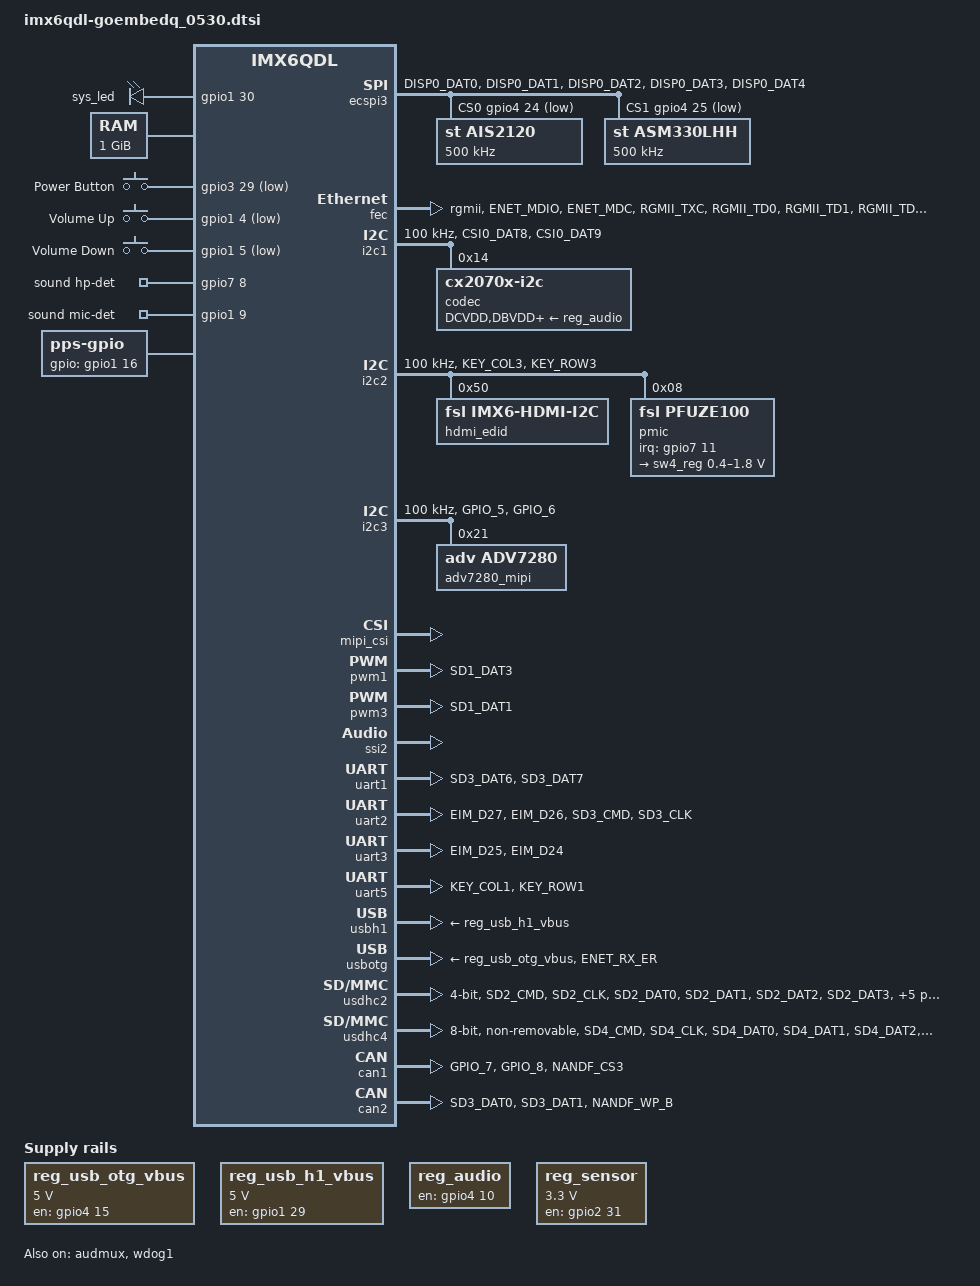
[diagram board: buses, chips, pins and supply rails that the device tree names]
/*
 * Copyright 2012-2016 Freescale Semiconductor, Inc.
 * Copyright 2011 Linaro Ltd.
 *
 * The code contained herein is licensed under the GNU General Public
 * License. You may obtain a copy of the GNU General Public License
 * Version 2 or later at the following locations:
 *
 * http://www.opensource.org/licenses/gpl-license.html
 * http://www.gnu.org/copyleft/gpl.html
 */

#include <dt-bindings/gpio/gpio.h>
#include <dt-bindings/input/input.h>

/ {
/*
	aliases {
		mxcfb0 = &mxcfb1;
		mxcfb1 = &mxcfb2;
		mxcfb2 = &mxcfb3;
		mxcfb3 = &mxcfb4;
	};
*/

	hannstar_cabc {
		compatible = "hannstar,cabc";
		lvds0 {
			gpios = <&gpio6 9 GPIO_ACTIVE_HIGH>;
		};
		lvds1 {
			gpios = <&gpio6 16 GPIO_ACTIVE_HIGH>;
		};
	};

	leds {
		compatible = "gpio-leds";

		sys_led {
			label = "sys_led";
			gpios = <&gpio1 30 GPIO_ACTIVE_HIGH>; 
			linux,default-trigger = "heartbeat";
		};
	};

	memory: memory {
		reg = <0x10000000 0x40000000>;
	};

	regulators {
		compatible = "simple-bus";
		#address-cells = <1>;
		#size-cells = <0>;

		reg_usb_otg_vbus: regulator@0 {
			compatible = "regulator-fixed";
			reg = <0>;
			regulator-name = "usb_otg_vbus";
			regulator-min-microvolt = <5000000>;
			regulator-max-microvolt = <5000000>;
			gpio = <&gpio4 15 GPIO_ACTIVE_LOW>;
			enable-active-high;
			//vin-supply = <&swbst_reg>;
		};

		reg_usb_h1_vbus: regulator@1 {
			compatible = "regulator-fixed";
			reg = <1>;
			regulator-name = "usb_h1_vbus";
			regulator-min-microvolt = <5000000>;
			regulator-max-microvolt = <5000000>;
			gpio = <&gpio1 29 GPIO_ACTIVE_LOW>;
			enable-active-high;
			//vin-supply = <&swbst_reg>;
		};

		reg_audio: regulator@2 {
			compatible = "regulator-fixed";
			reg = <2>;
			regulator-name = "wm8962-supply";
			gpio = <&gpio4 10 GPIO_ACTIVE_LOW>;
			enable-active-high;
		};

		reg_sensor: regulator@3 {
			compatible = "regulator-fixed";
			reg = <3>;
			regulator-name = "sensor-supply";
			regulator-min-microvolt = <3300000>;
			regulator-max-microvolt = <3300000>;
			gpio = <&gpio2 31 GPIO_ACTIVE_LOW>;
			startup-delay-us = <500>;
			enable-active-high;
		};
	};

	gpio-keys {
		compatible = "gpio-keys";
		pinctrl-names = "default";
		pinctrl-0 = <&pinctrl_gpio_keys>;

		power {
			label = "Power Button";
			gpios = <&gpio3 29 GPIO_ACTIVE_LOW>;
			wakeup-source;
			linux,code = <KEY_POWER>;
		};

		volume-up {
			label = "Volume Up";
			gpios = <&gpio1 4 GPIO_ACTIVE_LOW>;
			wakeup-source;
			linux,code = <KEY_VOLUMEUP>;
		};

		volume-down {
			label = "Volume Down";
			gpios = <&gpio1 5 GPIO_ACTIVE_LOW>;
			wakeup-source;
			linux,code = <KEY_VOLUMEDOWN>;
		};
	};

	sound {
		compatible = "fsl,imx6q-cx2070x",
			   "fsl,imx-audio-cx2070x";
		model = "cx2070x-audio";
		cpu-dai = <&ssi2>;
		audio-codec = <&codec>;
		asrc-controller = <&asrc>;
		audio-routing =
			"Master", "SPK",
			"Mic Pga", "74",
			"CPU-Capture", "Capture";
		mux-int-port = <2>;
		mux-ext-port = <3>;
		hp-det-gpios = <&gpio7 8 GPIO_ACTIVE_HIGH>;
		mic-det-gpios = <&gpio1 9 GPIO_ACTIVE_HIGH>;
	};

/*
	mxcfb1: fb@0 {
		compatible = "fsl,mxc_sdc_fb";
                disp_dev = "lcd";
                interface_pix_fmt = "RGB24";
                mode_str ="7inch_LCDP";
                default_bpp = <24>;
                int_clk = <0>;
                late_init = <0>;
                status = "disabled";

        };

	mxcfb2: fb@1 {
		 compatible = "fsl,mxc_sdc_fb";
                disp_dev = "hdmi";
                interface_pix_fmt = "RGB24";
                mode_str ="1280x720M@60";
                default_bpp = <24>;
                int_clk = <0>;
                late_init = <0>;
                status = "disabled";

        };

	mxcfb3: fb@2 {
		compatible = "fsl,mxc_sdc_fb";
                disp_dev = "ldb";
                interface_pix_fmt = "RGB666";
                default_bpp = <16>;
                int_clk = <0>;
                late_init = <0>;
                status = "disabled";
	};

	mxcfb4: fb@3 {
		compatible = "fsl,mxc_sdc_fb";
		disp_dev = "ldb";
		interface_pix_fmt = "RGB666";
		default_bpp = <16>;
		int_clk = <0>;
		late_init = <0>;
		status = "disabled";
	};
*/
/*
	lcd@0 {
		compatible = "fsl,lcd";
		ipu_id = <0>;
		disp_id = <0>;
		default_ifmt = "RGB565";
		pinctrl-names = "default";
		pinctrl-0 = <&pinctrl_ipu1>;
		status = "okay";
	};

	backlight {
		compatible = "pwm-backlight";
		pwms = <&pwm3 0 5000000>;
		brightness-levels = <0 4 8 16 32 64 128 255>;
		default-brightness-level = <1>;
		status = "okay";
	};
*/
	v4l2_cap_0 {
		compatible = "fsl,imx6q-v4l2-capture";
		ipu_id = <0>;
		csi_id = <0>;
		mclk_source = <0>;
		status = "okay";
	};
		
/*
	v4l2_out {
		compatible = "fsl,mxc_v4l2_output";
		status = "okay";
	};
*/	
	pps {
		compatible = "pps-gpio";
		pinctrl-names = "default";
		pinctrl-0 = <&pinctrl_pps>;
		gpios = <&gpio1 16 GPIO_ACTIVE_HIGH>;
		//assert-falling-edge;
		status = "okay";
	};
};

&audmux {
	pinctrl-names = "default";
	pinctrl-0 = <&pinctrl_audmux>;
	status = "okay";
};

/* nayhun original coce*/
&clks {
	assigned-clocks = <&clks IMX6QDL_CLK_LDB_DI0_SEL>,
	<&clks IMX6QDL_PLL4_BYPASS_SRC>,
	<&clks IMX6QDL_PLL4_BYPASS>,
			  <&clks IMX6QDL_CLK_LDB_DI1_SEL>;
	assigned-clock-parents = <&clks IMX6QDL_CLK_PLL2_PFD0_352M>,
				 <&clks IMX6QDL_PLL4_BYPASS>,
				 <&clks IMX6QDL_CLK_PLL2_PFD0_352M>;			 
};

&cpu0 {
	arm-supply = <&reg_arm>;
	soc-supply = <&reg_soc>;
};

/*
&ecspi1 {
	fsl,spi-num-chipselects = <1>;
	cs-gpios = <&gpio4 9 0>;
	pinctrl-names = "default";
	pinctrl-0 = <&pinctrl_ecspi1>;
	status = "okay";

	flash: m25p80@0 {
		#address-cells = <1>;
		#size-cells = <1>;
		compatible = "st,m25p32", "jedec,spi-nor";
		spi-max-frequency = <20000000>;
		reg = <0>;
	};
};
*/

&ecspi3 {
        pinctrl-names = "default";
        pinctrl-0 = <&pinctrl_ecspi3>;
        fsl,spi-num-chipselects = <2>;
        cs-gpios = <
                &gpio4 24 GPIO_ACTIVE_LOW
                &gpio4 25 GPIO_ACTIVE_LOW
        >;
        status = "okay";

        ais2120: spi@0 {
                compatible = "st,ais2120";
                reg = <0>;
                spi-max-frequency = <500000>;
        };

        asm330lhh: spi@1 {
		compatible = "st,asm330lhh";
                reg = <1>;
                spi-max-frequency = <500000>;
        };
};

&fec {
	pinctrl-names = "default";
	pinctrl-0 = <&pinctrl_enet>;
	phy-mode = "rgmii";
	phy-reset-gpios = <&gpio3 31 GPIO_ACTIVE_LOW>;
	fsl,magic-packet;
	status = "okay";
};

&i2c1 {
	clock-frequency = <100000>;
	pinctrl-names = "default";
	pinctrl-0 = <&pinctrl_i2c1>;
	status = "okay";

	codec: cx2070x@14 {
		compatible = "cx2070x-i2c";
		reg = <0x14>;
		clocks = <&clks IMX6QDL_CLK_CKO>;
		DCVDD-supply = <&reg_audio>;
		DBVDD-supply = <&reg_audio>;
		AVDD-supply = <&reg_audio>;
		CPVDD-supply = <&reg_audio>;
		MICVDD-supply = <&reg_audio>;
		PLLVDD-supply = <&reg_audio>;
		SPKVDD1-supply = <&reg_audio>;
		SPKVDD2-supply = <&reg_audio>;
		amic-mono;
		gpio-cfg = <
			0x0000 /* 0:Default */
			0x0000 /* 1:Default */
			0x0013 /* 2:FN_DMICCLK */
			0x0000 /* 3:Default */
			0x8014 /* 4:FN_DMICCDAT */
			0x0000 /* 5:Default */
		>;
       };
};

&i2c2 {
	clock-frequency = <100000>;
	pinctrl-names = "default", "gpio";
	pinctrl-0 = <&pinctrl_i2c2>;
	status = "okay";

	hdmi_edid: edid@50 {
		compatible = "fsl,imx6-hdmi-i2c";
		reg = <0x50>;
	};
	
	pmic: pfuze100@08 {
		compatible = "fsl,pfuze100";
		reg = <0x08>;
		interrupt-parent = <&gpio7>; 
		interrupts = <11 8>; 
		
		regulators {
			sw4_reg: sw4 {
				regulator-min-microvolt = <400000>;
				regulator-max-microvolt = <1800000>;
				regulator-always-on; 
			};
		};
	};	 
};

&i2c3 {
	clock-frequency = <100000>;
	pinctrl-names = "default";
	pinctrl-0 = <&pinctrl_i2c3>;
	status = "okay";

	adv7280_mipi: adv7280_mipi@21 { 
		compatible = "adv,adv7280";
		reg = <0x21>;
		clocks = <&clks IMX6QDL_CLK_CKO>;
		clock-names = "csi_mclk";
		csi_id = <0>;
		mclk = <24000000>;
		mclk_source = <0>;
	};	
};

&iomuxc {
	pinctrl-names = "default";
	pinctrl-0 = <&pinctrl_hog>;

	imx6qdl-sabresd {
		pinctrl_hog: hoggrp {
			fsl,pins = <
/*
				MX6QDL_PAD_NANDF_D0__GPIO2_IO00 0x80000000
				MX6QDL_PAD_NANDF_D1__GPIO2_IO01 0x80000000
				MX6QDL_PAD_NANDF_D2__GPIO2_IO02 0x80000000
				MX6QDL_PAD_NANDF_D3__GPIO2_IO03 0x80000000
				MX6QDL_PAD_GPIO_0__CCM_CLKO1    0x130b0
				MX6QDL_PAD_ENET_TXD1__GPIO1_IO29 0x80000000
				MX6QDL_PAD_EIM_D22__GPIO3_IO22  0x80000000
				MX6QDL_PAD_ENET_CRS_DV__GPIO1_IO25 0x80000000
				MX6QDL_PAD_EIM_D26__GPIO3_IO26 0x80000000
				MX6QDL_PAD_EIM_CS1__GPIO2_IO24 0x80000000
				MX6QDL_PAD_ENET_RXD0__GPIO1_IO27 0x80000000
				MX6QDL_PAD_EIM_A25__GPIO5_IO02 0x80000000
				MX6QDL_PAD_EIM_D23__GPIO3_IO23 0x80000000
				MX6QDL_PAD_EIM_EB3__GPIO2_IO31 0x80000000
				MX6QDL_PAD_SD1_CMD__GPIO1_IO18 0x80000000
				MX6QDL_PAD_EIM_D16__GPIO3_IO16 0x80000000
				MX6QDL_PAD_SD3_RST__GPIO7_IO08	0x80000000
				MX6QDL_PAD_GPIO_9__GPIO1_IO09 	0x80000000
				MX6QDL_PAD_EIM_DA9__GPIO3_IO09 0x80000000
				MX6QDL_PAD_NANDF_CS0__GPIO6_IO11 0x80000000
				MX6QDL_PAD_NANDF_CS1__GPIO6_IO14 0x80000000
				MX6QDL_PAD_NANDF_CS2__GPIO6_IO15 0x80000000
				MX6QDL_PAD_NANDF_CS3__GPIO6_IO16 0x80000000
*/
				//MX6QDL_PAD_GPIO_1__WDOG2_B 0x80000000
				MX6QDL_PAD_SD1_DAT2__GPIO1_IO19 0x80000000
			>;
		};

		pinctrl_audmux: audmuxgrp {
			fsl,pins = <
				MX6QDL_PAD_CSI0_DAT7__AUD3_RXD		0x130b0
				MX6QDL_PAD_CSI0_DAT4__AUD3_TXC		0x130b0
				MX6QDL_PAD_CSI0_DAT5__AUD3_TXD		0x110b0
				MX6QDL_PAD_CSI0_DAT6__AUD3_TXFS		0x130b0
			>;
		};
/*
		pinctrl_ecspi1: ecspi1grp {
			fsl,pins = <
				MX6QDL_PAD_KEY_COL1__ECSPI1_MISO	0x100b1
				MX6QDL_PAD_KEY_ROW0__ECSPI1_MOSI	0x100b1
				MX6QDL_PAD_KEY_COL0__ECSPI1_SCLK	0x100b1
				MX6QDL_PAD_KEY_ROW1__GPIO4_IO09		0x1b0b0
			>;
		};
*/
    pinctrl_ecspi3: escpi3grp {
      fsl,pins = <
        MX6QDL_PAD_DISP0_DAT0__ECSPI3_SCLK      0x100b1
        MX6QDL_PAD_DISP0_DAT1__ECSPI3_MOSI      0x100b1
        MX6QDL_PAD_DISP0_DAT2__ECSPI3_MISO      0x100b1
        MX6QDL_PAD_DISP0_DAT3__GPIO4_IO24       0x100b1
        MX6QDL_PAD_DISP0_DAT4__GPIO4_IO25       0x100b1
      >;
    };
                
		pinctrl_enet: enetgrp {
			fsl,pins = <
				MX6QDL_PAD_ENET_MDIO__ENET_MDIO		0x1b0b0
				MX6QDL_PAD_ENET_MDC__ENET_MDC		0x1b0b0
				MX6QDL_PAD_RGMII_TXC__RGMII_TXC		0x1b030
				MX6QDL_PAD_RGMII_TD0__RGMII_TD0		0x1b030
				MX6QDL_PAD_RGMII_TD1__RGMII_TD1		0x1b030
				MX6QDL_PAD_RGMII_TD2__RGMII_TD2		0x1b030
				MX6QDL_PAD_RGMII_TD3__RGMII_TD3		0x1b030
				MX6QDL_PAD_RGMII_TX_CTL__RGMII_TX_CTL	0x1b030
				MX6QDL_PAD_ENET_REF_CLK__ENET_TX_CLK	0x1b0b0
				MX6QDL_PAD_RGMII_RXC__RGMII_RXC		0x1b030
				MX6QDL_PAD_RGMII_RD0__RGMII_RD0		0x1b030
				MX6QDL_PAD_RGMII_RD1__RGMII_RD1		0x1b030
				MX6QDL_PAD_RGMII_RD2__RGMII_RD2		0x1b030
				MX6QDL_PAD_RGMII_RD3__RGMII_RD3		0x1b030
				MX6QDL_PAD_RGMII_RX_CTL__RGMII_RX_CTL	0x1b030
				MX6QDL_PAD_GPIO_16__ENET_REF_CLK	0x4001b0a8
			>;
		};

		pinctrl_enet_irq: enetirqgrp {
			fsl,pins = <
				MX6QDL_PAD_GPIO_6__ENET_IRQ		0x000b1
			>;
		};

		pinctrl_gpio_keys: gpio_keysgrp {
			fsl,pins = <
				MX6QDL_PAD_EIM_D29__GPIO3_IO29 0x1b0b0
				MX6QDL_PAD_GPIO_5__GPIO1_IO05  0x1b0b0
			>;
		};

		pinctrl_hdmi_cec: hdmicecgrp {
			fsl,pins = <
				MX6QDL_PAD_KEY_ROW2__HDMI_TX_CEC_LINE 0x108b0
			>;
		};

		pinctrl_hdmi_hdcp: hdmihdcpgrp {
			fsl,pins = <
				MX6QDL_PAD_KEY_COL3__HDMI_TX_DDC_SCL 0x4001b8b1
				MX6QDL_PAD_KEY_ROW3__HDMI_TX_DDC_SDA 0x4001b8b1
			>;
		};

		pinctrl_i2c1: i2c1grp {
			fsl,pins = <
				MX6QDL_PAD_CSI0_DAT8__I2C1_SDA		0x4001b8b1
				MX6QDL_PAD_CSI0_DAT9__I2C1_SCL		0x4001b8b1
			>;
		};

		pinctrl_i2c2: i2c2grp {
			fsl,pins = <
				MX6QDL_PAD_KEY_COL3__I2C2_SCL		0x4001b8b1
				MX6QDL_PAD_KEY_ROW3__I2C2_SDA		0x4001b8b1
			>;
		};

		pinctrl_i2c3: i2c3grp {
			fsl,pins = <
				MX6QDL_PAD_GPIO_5__I2C3_SCL		0x4001b8b1
				MX6QDL_PAD_GPIO_6__I2C3_SDA		0x4001b8b1
			>;
		};

		pinctrl_ipu1: ipu1grp {
			fsl,pins = <
				MX6QDL_PAD_DI0_DISP_CLK__IPU1_DI0_DISP_CLK 0x10
				MX6QDL_PAD_DI0_PIN15__IPU1_DI0_PIN15       0x10
				MX6QDL_PAD_DI0_PIN2__IPU1_DI0_PIN02        0x10
				MX6QDL_PAD_DI0_PIN3__IPU1_DI0_PIN03        0x10
				MX6QDL_PAD_DI0_PIN4__IPU1_DI0_PIN04        0x80000000
				MX6QDL_PAD_DISP0_DAT0__IPU1_DISP0_DATA00   0x10
				MX6QDL_PAD_DISP0_DAT1__IPU1_DISP0_DATA01   0x10
				MX6QDL_PAD_DISP0_DAT2__IPU1_DISP0_DATA02   0x10
				MX6QDL_PAD_DISP0_DAT3__IPU1_DISP0_DATA03   0x10
				MX6QDL_PAD_DISP0_DAT4__IPU1_DISP0_DATA04   0x10
				MX6QDL_PAD_DISP0_DAT5__IPU1_DISP0_DATA05   0x10
				MX6QDL_PAD_DISP0_DAT6__IPU1_DISP0_DATA06   0x10
				MX6QDL_PAD_DISP0_DAT7__IPU1_DISP0_DATA07   0x10
				MX6QDL_PAD_DISP0_DAT8__IPU1_DISP0_DATA08   0x10
				MX6QDL_PAD_DISP0_DAT9__IPU1_DISP0_DATA09   0x10
				MX6QDL_PAD_DISP0_DAT10__IPU1_DISP0_DATA10  0x10
				MX6QDL_PAD_DISP0_DAT11__IPU1_DISP0_DATA11  0x10
				MX6QDL_PAD_DISP0_DAT12__IPU1_DISP0_DATA12  0x10
				MX6QDL_PAD_DISP0_DAT13__IPU1_DISP0_DATA13  0x10
				MX6QDL_PAD_DISP0_DAT14__IPU1_DISP0_DATA14  0x10
				MX6QDL_PAD_DISP0_DAT15__IPU1_DISP0_DATA15  0x10
				MX6QDL_PAD_DISP0_DAT16__IPU1_DISP0_DATA16  0x10
				MX6QDL_PAD_DISP0_DAT17__IPU1_DISP0_DATA17  0x10
				MX6QDL_PAD_DISP0_DAT18__IPU1_DISP0_DATA18  0x10
				MX6QDL_PAD_DISP0_DAT19__IPU1_DISP0_DATA19  0x10
				MX6QDL_PAD_DISP0_DAT20__IPU1_DISP0_DATA20  0x10
				MX6QDL_PAD_DISP0_DAT21__IPU1_DISP0_DATA21  0x10
				MX6QDL_PAD_DISP0_DAT22__IPU1_DISP0_DATA22  0x10
				MX6QDL_PAD_DISP0_DAT23__IPU1_DISP0_DATA23  0x10
			>;
		};
/*
		pinctrl_ipu1_2: ipu1grp-2 { // parallel camera 
			fsl,pins = <
				MX6QDL_PAD_CSI0_DAT12__IPU1_CSI0_DATA12    0x80000000
				MX6QDL_PAD_CSI0_DAT13__IPU1_CSI0_DATA13    0x80000000
				MX6QDL_PAD_CSI0_DAT14__IPU1_CSI0_DATA14    0x80000000
				MX6QDL_PAD_CSI0_DAT15__IPU1_CSI0_DATA15    0x80000000
				MX6QDL_PAD_CSI0_DAT16__IPU1_CSI0_DATA16    0x80000000
				MX6QDL_PAD_CSI0_DAT17__IPU1_CSI0_DATA17    0x80000000
				MX6QDL_PAD_CSI0_DAT18__IPU1_CSI0_DATA18    0x80000000
				MX6QDL_PAD_CSI0_DAT19__IPU1_CSI0_DATA19    0x80000000
				MX6QDL_PAD_CSI0_DATA_EN__IPU1_CSI0_DATA_EN 0x80000000
				MX6QDL_PAD_CSI0_PIXCLK__IPU1_CSI0_PIXCLK   0x80000000
				MX6QDL_PAD_CSI0_MCLK__IPU1_CSI0_HSYNC      0x80000000
				MX6QDL_PAD_CSI0_VSYNC__IPU1_CSI0_VSYNC     0x80000000
			>;
		};
*/
/*		
		pinctrl_pcie: pciegrp {
		        fsl,pins = <
		                MX6QDL_PAD_GPIO_17__GPIO7_IO12  0x1b0b0
		        >;
		};
*/
		pinctrl_pwm1: pwm1grp {
			fsl,pins = <
				MX6QDL_PAD_SD1_DAT3__PWM1_OUT		0x1b0b1
			>;
		};

		pinctrl_pwm3: pwm3grp {
			fsl,pins = <
				MX6QDL_PAD_SD1_DAT1__PWM3_OUT		0x1b0b1
			>;
		};

		pinctrl_uart1: uart1grp {
			fsl,pins = <
				MX6QDL_PAD_SD3_DAT6__UART1_RX_DATA	0x1b0b1
				MX6QDL_PAD_SD3_DAT7__UART1_TX_DATA	0x1b0b1
			>;
		};

		pinctrl_uart2: uart2grp {
			fsl,pins = <
				MX6QDL_PAD_EIM_D27__UART2_RX_DATA	0x1b0b1
				MX6QDL_PAD_EIM_D26__UART2_TX_DATA	0x1b0b1
				MX6QDL_PAD_SD3_CMD__UART2_CTS_B		0x1b0b1
				MX6QDL_PAD_SD3_CLK__UART2_RTS_B		0x1b0b1
			>;
		};

		pinctrl_uart3: uart3grp {
			fsl,pins = <
				MX6QDL_PAD_EIM_D25__UART3_RX_DATA	0x1b0b1
				MX6QDL_PAD_EIM_D24__UART3_TX_DATA	0x1b0b1
			>;
		};

		pinctrl_uart5: uart5grp {
			fsl,pins = <
				MX6QDL_PAD_KEY_COL1__UART5_TX_DATA	0x1b0b1
				MX6QDL_PAD_KEY_ROW1__UART5_RX_DATA	0x1b0b1
			>;
		};

		pinctrl_usbotg: usbotggrp {
			fsl,pins = <
				MX6QDL_PAD_ENET_RX_ER__USB_OTG_ID	0x17059
			>;
		};

		pinctrl_usdhc2: usdhc2grp {
			fsl,pins = <
				MX6QDL_PAD_SD2_CMD__SD2_CMD		0x17059
				MX6QDL_PAD_SD2_CLK__SD2_CLK		0x10059
				MX6QDL_PAD_SD2_DAT0__SD2_DATA0		0x17059
				MX6QDL_PAD_SD2_DAT1__SD2_DATA1		0x17059
				MX6QDL_PAD_SD2_DAT2__SD2_DATA2		0x17059
				MX6QDL_PAD_SD2_DAT3__SD2_DATA3		0x17059
				MX6QDL_PAD_NANDF_D4__SD2_DATA4		0x17059
				MX6QDL_PAD_NANDF_D5__SD2_DATA5		0x17059
				MX6QDL_PAD_NANDF_D6__SD2_DATA6		0x17059
				MX6QDL_PAD_NANDF_D7__SD2_DATA7		0x17059
			>;
		};

		pinctrl_usdhc4: usdhc4grp {
			fsl,pins = <
				MX6QDL_PAD_SD4_CMD__SD4_CMD		0x17059
				MX6QDL_PAD_SD4_CLK__SD4_CLK		0x10059
				MX6QDL_PAD_SD4_DAT0__SD4_DATA0		0x17059
				MX6QDL_PAD_SD4_DAT1__SD4_DATA1		0x17059
				MX6QDL_PAD_SD4_DAT2__SD4_DATA2		0x17059
				MX6QDL_PAD_SD4_DAT3__SD4_DATA3		0x17059
				MX6QDL_PAD_SD4_DAT4__SD4_DATA4		0x17059
				MX6QDL_PAD_SD4_DAT5__SD4_DATA5		0x17059
				MX6QDL_PAD_SD4_DAT6__SD4_DATA6		0x17059
				MX6QDL_PAD_SD4_DAT7__SD4_DATA7		0x17059
			>;
		};

		pinctrl_can1: can1grp { 
		       fsl,pins = < 
		               MX6QDL_PAD_GPIO_7__FLEXCAN1_TX          0x1b0b0 
		               MX6QDL_PAD_GPIO_8__FLEXCAN1_RX          0x1b0b0 
		               MX6QDL_PAD_NANDF_CS3__GPIO6_IO16        0x4001b0b0 /* CAN_STBY */ 
		       >; 
		};
 
		pinctrl_can2: can2grp { 
		       fsl,pins = < 
		               MX6QDL_PAD_SD3_DAT0__FLEXCAN2_TX        0x1b0b0 
		               MX6QDL_PAD_SD3_DAT1__FLEXCAN2_RX        0x1b0b0 
		               MX6QDL_PAD_NANDF_WP_B__GPIO6_IO09       0x4001b0b0 /* CAN_STBY */ 
		       >; 
		};

		pinctrl_pps: ppsgrp {
		      	fsl,pins = <
		      	        MX6QDL_PAD_SD1_DAT0__GPIO1_IO16        0x1b0b1
		        >;
		};

		pinctrl_wdog: wdoggrp {
		        fsl,pins = <
		                MX6QDL_PAD_GPIO_1__WDOG2_B 0x80000000
		        >;
		};		

	};
};

&gpc {
        /* use ldo-bypass, u-boot will check it and configure */
        fsl,ldo-bypass = <0>;
        fsl,wdog-reset = <1>;
};

/*
&gpc {
	fsl,ldo-bypass = <1>;
};

&dcic1 {
	dcic_id = <0>;
	dcic_mux = "dcic-hdmi";
	status = "okay";
};

&dcic2 {
	dcic_id = <1>;
	dcic_mux = "dcic-lvds1";
	status = "okay";
};

&hdmi_audio {
	status = "okay";
};

&hdmi_cec {
	pinctrl-names = "default";
	pinctrl-0 = <&pinctrl_hdmi_cec>;
	status = "okay";
};

&hdmi_core {
	ipu_id = <0>;
	disp_id = <0>;
	status = "okay";
};

&hdmi_video {
	fsl,phy_reg_vlev = <0x0294>;
	fsl,phy_reg_cksymtx = <0x800d>;
	HDMI-supply = <&reg_hdmi>;
	status = "okay";
};

&ldb {
	status = "okay";

	lvds-channel@0 {
		fsl,data-mapping = "spwg";
		fsl,data-width = <18>;
		status = "okay";

		display-timings {
			native-mode = <&timing0>;
			timing0: hsd100pxn1 {
				clock-frequency = <65000000>;
				hactive = <1024>;
				vactive = <768>;
				hback-porch = <220>;
				hfront-porch = <40>;
				vback-porch = <21>;
				vfront-porch = <7>;
				hsync-len = <60>;
				vsync-len = <10>;
			};
		};
	};

	lvds-channel@1 {
		fsl,data-mapping = "spwg";
		fsl,data-width = <18>;
		primary;
		status = "okay";

		display-timings {
			native-mode = <&timing1>;
			timing1: hsd100pxn1 {
				clock-frequency = <65000000>;
				hactive = <1024>;
				vactive = <768>;
				hback-porch = <220>;
				hfront-porch = <40>;
				vback-porch = <21>;
				vfront-porch = <7>;
				hsync-len = <60>;
				vsync-len = <10>;
			};
		};
	};
};
*/

&mipi_csi {
	status = "okay";
	ipu_id = <0>;
	csi_id = <0>;
	v_channel = <0>;
	lanes = <1>;
};
/*
&pcie {
	pinctrl-names = "default";
	pinctrl-0 = <&pinctrl_pcie>;
	reset-gpio = <&gpio4 7 GPIO_ACTIVE_LOW>;
	status = "okay";
};
*/
&pwm1 {
	pinctrl-names = "default";
	pinctrl-0 = <&pinctrl_pwm1>;
	status = "okay";
};

&pwm3 {
        pinctrl-names = "default";
        pinctrl-0 = <&pinctrl_pwm3>;
        status = "okay";
};


&ssi2 {	
	fsl,mode = "i2s-master";	
	status = "okay";
};

&uart1 {
	pinctrl-names = "default";
	pinctrl-0 = <&pinctrl_uart1>;
	status = "okay";
};

&uart2 {
	pinctrl-names = "default";
	pinctrl-0 = <&pinctrl_uart2>;
	status = "okay";
};

&uart3 {
	pinctrl-names = "default";
	pinctrl-0 = <&pinctrl_uart3>;
	status = "okay";
};

&uart5 {
	pinctrl-names = "default";
	pinctrl-0 = <&pinctrl_uart5>;
	status = "okay";
};

&usbh1 {
	vbus-supply = <&reg_usb_h1_vbus>;
	status = "okay";
};

&usbotg {
	vbus-supply = <&reg_usb_otg_vbus>;
	pinctrl-names = "default";
	pinctrl-0 = <&pinctrl_usbotg>;
	disable-over-current;
	srp-disable;
	hnp-disable;
	adp-disable;
	status = "okay";
};

&usdhc2 {
	pinctrl-names = "default";
	pinctrl-0 = <&pinctrl_usdhc2>;
	bus-width = <4>;
	cd-gpios = <&gpio1 4 GPIO_ACTIVE_LOW>;
	no-1-8-v;
	keep-power-in-suspend;
	enable-sdio-wakeup;
	status = "okay";
};


&usdhc4 {
	pinctrl-names = "default";
	pinctrl-0 = <&pinctrl_usdhc4>;
	bus-width = <8>;
	non-removable;
	no-1-8-v;
	keep-power-in-suspend;
	status = "okay";
};

/*
&wdog1 {
        //status = "disabled";
        pinctrl-names = "default";
        pinctrl-0 = <&pinctrl_wdog>;
        fsl,ext-reset-output;
        status = "okay";
};

&wdog2 {
        pinctrl-names = "default";
        pinctrl-0 = <&pinctrl_wdog>;
        fsl,ext-reset-output;
        status = "disabled";
};
*/

&wdog1 {
        //pinctrl-names = "default";
        //pinctrl-0 = <&pinctrl_wdog>;
        //fsl,ext-reset-output;
	status = "okay";

};

&wdog2 {
		status = "disabled";
};


&can1 { 
       pinctrl-names = "default"; 
       pinctrl-0 = <&pinctrl_can1>; 
       status = "okay"; 
}; 

&can2 { 
       pinctrl-names = "default"; 
       pinctrl-0 = <&pinctrl_can2>; 
       status = "okay"; 
}; 

&reg_arm {
	/delete-property/ vin-supply;
};

&reg_pu {
	/delete-property/ vin-supply;
};

&reg_soc {
	/delete-property/ vin-supply;
};

&snvs_poweroff {
	status = "okay";
};
